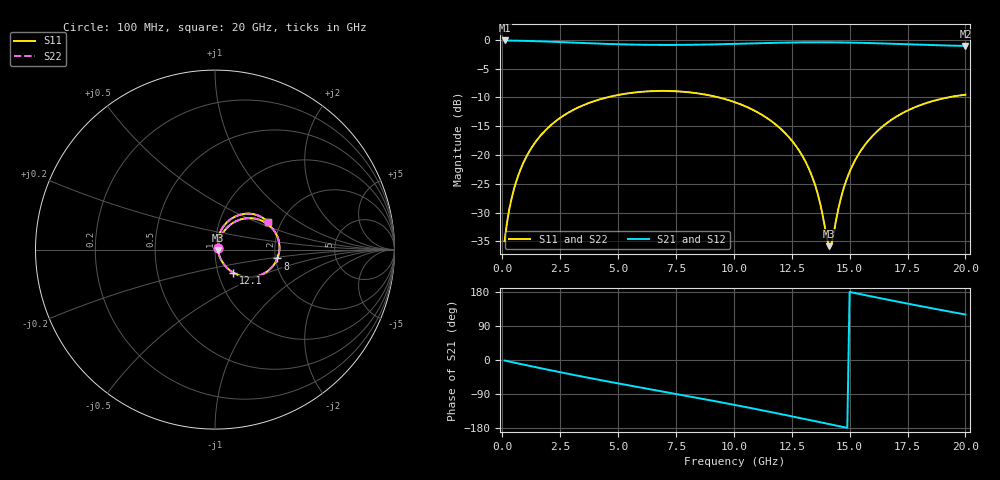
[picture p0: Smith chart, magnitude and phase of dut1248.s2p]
! Touchstone file exported from HFSS 2026.1.0
!  File:  C:/ffzhzh/LocalFiles/Ansys_Project_Files/temp_train_TSV_RDL_1248_1783325112_5512.aedt
!  Generated:  04:17:33 PM Jul  6, 2026
!  Design:  TSV_RDL
!  Project:  temp_train_TSV_RDL_1248_1783325112_5512
! Variables:
!  h_bsmrdl = 5.39um
!  h_ox = 20um
!  h_rdl = 5um
!  h_sub = 58.32um
!  h_tmrdl = 4.88um
!  h_tsv = 58.32um
!  h_via = 3um
!  l_bsmrdl = 704.31um
!  l_sub = 4208.67um
!  l_tmrdl = 391.04um
!  m_sub = 200um
!  pitch = 38.25um
!  r_tsv = 5.63um
!  s_tmrdl = 10um
!  w_bsmrdl = 26.56um
!  w_sub = 500um
!  w_tmrdl = 17.3um
!  x_tsv_center1 = 399.69um
!  x_tsv_center2 = 1130.56um
!  x_tsv_center3 = 1538.9um
!  x_tsv_center4 = 2269.77um
!  x_tsv_center5 = 2678.11um
!  x_tsv_center6 = 3408.98um
# GHz S MA R 50.000000
! Terminal data exported
! Port[1] = TM_RDL1_1_T1
! Port[2] = TM_RDL5_1_T1
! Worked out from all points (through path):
!   200 points, 100 MHz to 20 GHz, reference 50 ohm
!   highest |S21| = -0.13 dB at 100 MHz (marker M1); lowest = -1.1 dB at 20 GHz (marker M2)
!   group delay of S21, straight-line fit = 33.1 ps
!   lowest |S11| = -35.8 dB at 14.1 GHz (marker M3), VSWR 1.03, Z = 51.6 - j0.16 ohm
!   |S11| at or under -10 dB: start of sweep to 4.53 GHz; 9.337 GHz to 19.26 GHz (9.923 GHz wide, 69.4 % of centre)
!   |S22| runs from -36.0 to -8.9 dB; largest |S21 - S12| = 1.7e-14
!   S11 on the Smith chart (normalised r, x): 100 MHz: 1.03, +0.02; 8 GHz: 2.05, -0.23; 12.1 GHz: 1.18, -0.31; 20 GHz: 1.72, +0.59
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0.1  0.01793 35.0  0.9855 -1.4  0.9855 -1.4  0.01793 35.0
! Gamma 0 0 0 0
! Port Impedance 50 0 50 0
0.3  0.03366 56.9  0.9833 -4.1  0.9833 -4.1  0.03366 56.9
0.5  0.05033 63.3  0.9817 -6.7  0.9817 -6.7  0.05033 63.3
1.2  0.1102 64.2  0.9749 -15.8  0.9749 -15.8  0.1102 64.2
2.2  0.1889 54.7  0.9596 -28.5  0.9596 -28.5  0.1889 54.7
3.5  0.2704 40.2  0.9362 -44.4  0.9362 -44.4  0.2704 40.2
5.1  0.3345 22.7  0.9125 -62.8  0.9125 -62.8  0.3345 22.7
6.8  0.3595 4.6  0.9012 -81.8  0.9012 -81.8  0.3595 4.6
8  0.3511 -8.1  0.903 -95.2  0.903 -95.2  0.3511 -8.1
10.1  0.2844 -30.6  0.9213 -119.3  0.9213 -119.3  0.2844 -30.7
12.1  0.1633 -51.8  0.9432 -143.6  0.9432 -143.6  0.1633 -51.9
12.8  0.1107 -57.7  0.9481 -152.4  0.9481 -152.4  0.1107 -57.8
13.4  0.06344 -58.9  0.9502 -160.0  0.9502 -160.0  0.06339 -59.1
13.7  0.04008 -53.8  0.9504 -163.8  0.9504 -163.8  0.03998 -54.3
14.1  0.01619 -5.5  0.9498 -168.9  0.9498 -168.9  0.01586 -5.9
14.2  0.01635 22.7  0.9495 -170.2  0.9495 -170.2  0.01601 22.9
14.6  0.04055 69.1  0.9476 -175.3  0.9476 -175.3  0.04038 69.6
15.1  0.07935 74.4  0.9439 178.3  0.9439 178.3  0.07924 74.6
15.8  0.1327 70.5  0.9366 169.5  0.9366 169.5  0.1326 70.6
16.7  0.1952 62.0  0.9246 158.4  0.9246 158.4  0.1952 62.1
18.2  0.2775 46.1  0.9029 140.6  0.9029 140.6  0.2774 46.2
20  0.3333 27.1  0.8841 120.0  0.8841 120.0  0.3333 27.2
